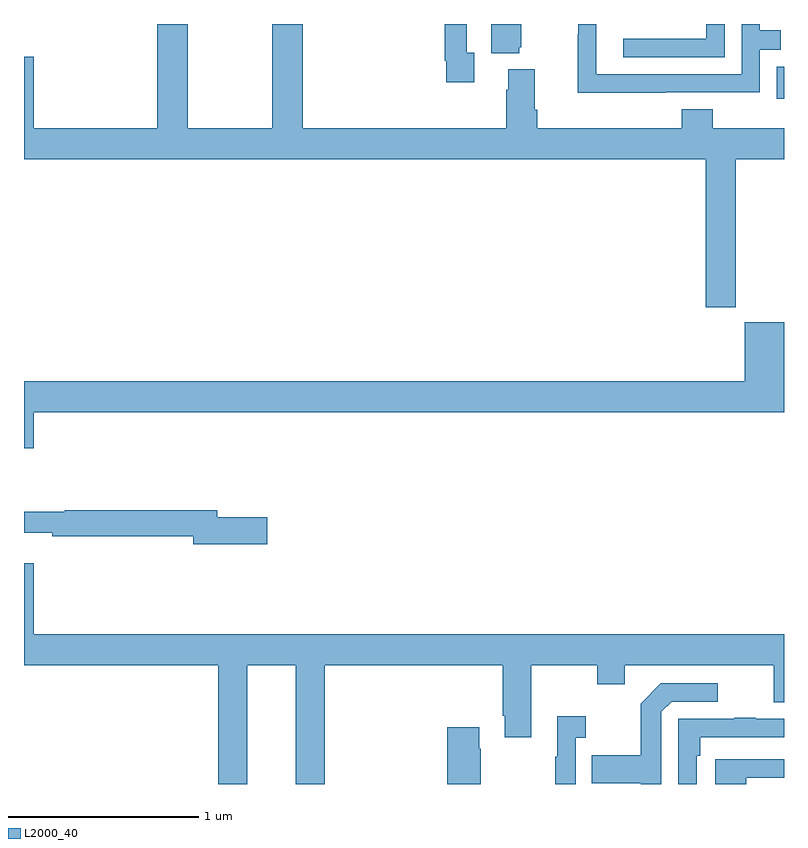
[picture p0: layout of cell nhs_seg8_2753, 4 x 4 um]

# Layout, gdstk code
import gdstk
lib = gdstk.Library(unit=1e-6, precision=1e-09)
def R(c, l, rs):  # rectangles x0, y0, x1, y1
    for r in rs: c.add(gdstk.rectangle(r[:2], r[2:], *l))
def P(c, l, *ps):  # polygons
    for p in ps: c.add(gdstk.Polygon(p, *l))
L2000_40 = (2000, 40)

nhs_seg8_2753 = lib.new_cell('nhs_seg8_2753')
R(nhs_seg8_2753, L2000_40, [(288.963,1095.507,289,1095.675)])
P(nhs_seg8_2753, L2000_40, [(288.687,1095.9),(288.591,1095.9),(288.591,1095.822),(288.153,1095.822),(288.153,1095.726),(288.687,1095.726)],
  [(287.606,1095.777),(287.617,1095.777),(287.617,1095.9),(287.459,1095.9),(287.459,1095.746),(287.606,1095.746)],
  [(287.371,1095.75),(287.331,1095.75),(287.331,1095.9),(287.215,1095.9),(287.215,1095.706),(287.223,1095.706),(287.223,1095.594),(287.371,1095.594)],
  [(288.747,1095.188),(289,1095.188),(289,1095.352),(288.626,1095.352),(288.626,1095.451),(288.461,1095.451),(288.461,1095.352),(287.702,1095.352),(287.702,1095.448),(287.689,1095.448),(287.689,1095.661),(287.549,1095.661),(287.549,1095.554),(287.537,1095.554),(287.537,1095.352),(286.466,1095.352),(286.466,1095.9),(286.306,1095.9),(286.306,1095.352),(285.861,1095.352),(285.861,1095.9),(285.701,1095.9),(285.701,1095.352),(285.052,1095.352),(285.052,1095.727),(285,1095.727),(285,1095.188),(288.587,1095.188),(288.587,1094.409),(288.747,1094.409)],
  [(288.377,1095.54),(288.873,1095.54),(288.873,1095.765),(288.983,1095.765),(288.983,1095.866),(288.873,1095.866),(288.873,1095.9),(288.777,1095.9),(288.777,1095.636),(288.012,1095.636),(288.012,1095.9),(287.916,1095.9),(287.916,1095.845),(287.914,1095.845),(287.914,1095.539),(288.377,1095.539)],
  [(285.052,1093.856),(289,1093.856),(289,1094.329),(288.794,1094.329),(288.794,1094.02),(285,1094.02),(285,1093.668),(285.052,1093.668)],
  [(286.279,1093.304),(286.018,1093.304),(286.018,1093.34),(285.214,1093.34),(285.214,1093.333),(285,1093.333),(285,1093.223),(285.148,1093.223),(285.148,1093.204),(285.89,1093.204),(285.89,1093.162),(286.279,1093.162)],
  [(286.174,1092.524),(286.43,1092.524),(286.43,1091.9),(286.583,1091.9),(286.583,1092.524),(287.519,1092.524),(287.519,1092.259),(287.531,1092.259),(287.531,1092.147),(287.671,1092.147),(287.671,1092.524),(288.016,1092.524),(288.016,1092.425),(288.163,1092.425),(288.163,1092.524),(288.947,1092.524),(288.947,1092.33),(289,1092.33),(289,1092.688),(285.052,1092.688),(285.052,1093.063),(285,1093.063),(285,1092.524),(286.022,1092.524),(286.022,1091.9),(286.174,1091.9)],
  [(288.354,1092.279),(288.408,1092.333),(288.652,1092.333),(288.652,1092.429),(288.351,1092.429),(288.246,1092.323),(288.246,1092.051),(287.989,1092.051),(287.989,1091.903),(288.246,1091.903),(288.246,1091.9),(288.354,1091.9)],
  [(287.904,1092.143),(287.956,1092.143),(287.956,1092.256),(287.807,1092.256),(287.807,1092.043),(287.796,1092.043),(287.796,1091.9),(287.904,1091.9)],
  [(288.54,1092.05),(288.56,1092.05),(288.56,1092.147),(289,1092.147),(289,1092.243),(288.851,1092.243),(288.851,1092.248),(288.739,1092.248),(288.739,1092.243),(288.444,1092.243),(288.444,1091.9),(288.54,1091.9)],
  [(287.403,1092.086),(287.395,1092.086),(287.395,1092.199),(287.228,1092.199),(287.228,1091.9),(287.403,1091.9)],
  [(288.8,1091.934),(289,1091.934),(289,1092.03),(288.639,1092.03),(288.639,1091.9),(288.8,1091.9)])

lib.write_gds('nhs_seg8_2753.gds')
